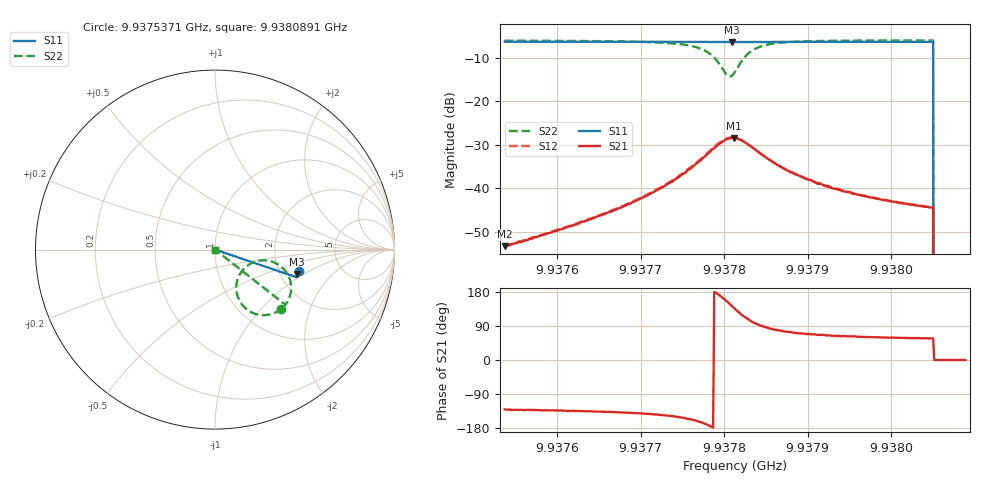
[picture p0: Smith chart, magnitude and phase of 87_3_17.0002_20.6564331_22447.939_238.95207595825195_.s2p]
#  HZ  S  RI  R  50.00
! Rohde & Schwarz Vector Network Analyzer
! Rohde-Schwarz,ZNB20-2Port,1311601062101988,3.16
! Created: UTC 3/20/2024, 10:55:59 PM
! freq[Hz]  re:S11  im:S11  re:S21  im:S21  re:S12  im:S12  re:S22  im:S22
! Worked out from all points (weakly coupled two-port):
!   401 points, 9.9375371 GHz to 9.9380891 GHz, reference 50 ohm
!   highest |S21| = -28.43 dB at 9.9378118 GHz (marker M1); lowest = -53.2 dB at 9.9375371 GHz (marker M2)
!   lowest |S11| = -6.4 dB at 9.937809 GHz (marker M3), VSWR 2.82, Z = 123 - j43.7 ohm
!   |S11| at or under -10 dB: 9.9380505 GHz to end of sweep
!   |S22| runs from - to -6.0 dB; largest |S21 - S12| = 0.0022
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9.93753714e9  0.4669 -0.1216  -0.00141 -0.00166  -0.00147 -0.00162  0.3704 -0.329
9.9376296e9  0.4647 -0.128  -0.00292 -0.00294  -0.00297 -0.00291  0.3525 -0.342
9.93767928e9  0.4632 -0.1315  -0.00463 -0.00412  -0.00481 -0.00412  0.3342 -0.3517
9.93772206e9  0.4619 -0.1344  -0.00799 -0.00571  -0.00827 -0.0057  0.303 -0.362
9.93775518e9  0.4606 -0.1369  -0.0143 -0.00668  -0.0148 -0.00667  0.2498 -0.364
9.9377745e9  0.4592 -0.1383  -0.0216 -0.00541  -0.0224 -0.00507  0.1907 -0.3424
9.93778554e9  0.4581 -0.1387  -0.0277 -0.00153  -0.0284 -0.000877  0.147 -0.3013
9.9377952e9  0.457 -0.1383  -0.0324 0.00593  -0.0331 0.00726  0.1199 -0.2319
9.93780348e9  0.4566 -0.1379  -0.0332 0.0158  -0.0332 0.0177  0.1313 -0.1511
9.937809e9  0.4565 -0.1374  -0.0304 0.0224  -0.0298 0.0245  0.1664 -0.1014
9.93781176e9  0.4566 -0.137  -0.028 0.0255  -0.0271 0.0274  0.1908 -0.0827
9.93781314e9  0.457 -0.1371  -0.0265 0.0268  -0.0257 0.0285  0.2038 -0.0755
9.93782004e9  0.4577 -0.1368  -0.0187 0.0307  -0.0174 0.0318  0.272 -0.0597
9.93782694e9  0.4583 -0.1371  -0.0112 0.0309  -0.00996 0.0316  0.3302 -0.0714
9.93784212e9  0.4591 -0.1384  -0.000911 0.0257  -0.000184 0.0259  0.3992 -0.1293
9.93787524e9  0.4592 -0.1417  0.00429 0.0155  0.00469 0.0156  0.4242 -0.2172
9.9379056e9  0.4586 -0.1441  0.00469 0.0113  0.00495 0.0112  0.4186 -0.254
9.93794424e9  0.4576 -0.147  0.0042 0.00821  0.00444 0.00836  0.4097 -0.2783
9.93799805e9  0.4563 -0.1506  0.0037 0.00614  0.00382 0.00615  0.3998 -0.2964
9.93804773e9  0.455 -0.154  0.00328 0.00507  0.00343 0.00508  0.3929 -0.3069
9.93805463e9  0 0  0 0  0 0  0 0
9.93808913e9  0 0  0 0  0 0  0 0
